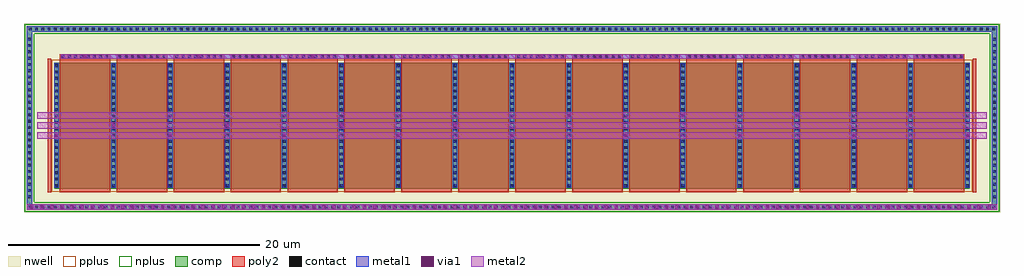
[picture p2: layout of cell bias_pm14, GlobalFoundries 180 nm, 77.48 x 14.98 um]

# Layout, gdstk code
import gdstk
lib = gdstk.Library(unit=1e-6, precision=1e-09)
def R(c, l, rs):  # rectangles x0, y0, x1, y1
    for r in rs: c.add(gdstk.rectangle(r[:2], r[2:], *l))
def A(c, l, x, y, w, h, nx, ny, dx, dy):  # array of equal rectangles
    R(c, l, [(x+i*dx, y+j*dy, x+i*dx+w, y+j*dy+h) for i in range(nx) for j in range(ny)])
nwell = (21, 0)
comp = (22, 0)
poly2 = (30, 0)
pplus = (31, 0)
nplus = (32, 0)
contact = (33, 0)
metal1 = (34, 0)
via1 = (35, 0)
metal2 = (36, 0)

bias_pm14 = lib.new_cell('bias_pm14')
R(bias_pm14, nwell, [(-0.22,-0.22,77.26,14.76)])
R(bias_pm14, comp, [(0,0,77.04,0.42), (0,0,0.42,14.54), (76.62,0,77.04,14.54), (2.17,1.67,74.87,11.67), (0,14.12,77.04,14.54)])
A(bias_pm14, poly2, 2.62, 1.37, 4, 10.96, 16, 1, 4.52, 0)
R(bias_pm14, poly2, [(1.65,1.37,1.93,11.97), (75.11,1.37,75.39,11.97)])
R(bias_pm14, pplus, [(1.99,1.43,75.05,11.91)])
R(bias_pm14, nplus, [(-0.16,-0.16,77.2,0.58), (-0.16,-0.16,0.58,14.7), (76.46,-0.16,77.2,14.7), (-0.16,13.96,77.2,14.7)])
A(bias_pm14, contact, 0.16, 0.1, 0.22, 0.22, 154, 2, 0.5, 14.12)
A(bias_pm14, contact, 0.1, 0.91, 0.22, 0.22, 1, 26, 0, 0.5)
A(bias_pm14, contact, 76.72, 0.91, 0.22, 0.22, 1, 26, 0, 0.5)
A(bias_pm14, contact, 2.25, 1.81, 0.22, 0.22, 17, 20, 4.52, 0.5)
A(bias_pm14, contact, 2.76, 12.04, 0.22, 0.22, 8, 1, 0.5, 0)
A(bias_pm14, contact, 7.28, 12.04, 0.22, 0.22, 8, 1, 0.5, 0)
A(bias_pm14, contact, 11.8, 12.04, 0.22, 0.22, 8, 1, 0.5, 0)
A(bias_pm14, contact, 16.32, 12.04, 0.22, 0.22, 8, 1, 0.5, 0)
A(bias_pm14, contact, 20.84, 12.04, 0.22, 0.22, 8, 1, 0.5, 0)
A(bias_pm14, contact, 25.36, 12.04, 0.22, 0.22, 8, 1, 0.5, 0)
A(bias_pm14, contact, 29.88, 12.04, 0.22, 0.22, 8, 1, 0.5, 0)
A(bias_pm14, contact, 34.4, 12.04, 0.22, 0.22, 8, 1, 0.5, 0)
A(bias_pm14, contact, 38.92, 12.04, 0.22, 0.22, 8, 1, 0.5, 0)
A(bias_pm14, contact, 43.44, 12.04, 0.22, 0.22, 8, 1, 0.5, 0)
A(bias_pm14, contact, 47.96, 12.04, 0.22, 0.22, 8, 1, 0.5, 0)
A(bias_pm14, contact, 52.48, 12.04, 0.22, 0.22, 8, 1, 0.5, 0)
A(bias_pm14, contact, 57, 12.04, 0.22, 0.22, 8, 1, 0.5, 0)
A(bias_pm14, contact, 61.52, 12.04, 0.22, 0.22, 8, 1, 0.5, 0)
A(bias_pm14, contact, 66.04, 12.04, 0.22, 0.22, 8, 1, 0.5, 0)
A(bias_pm14, contact, 70.56, 12.04, 0.22, 0.22, 8, 1, 0.5, 0)
A(bias_pm14, metal1, 2.17, 1.73, 0.38, 9.88, 17, 1, 4.52, 0)
R(bias_pm14, metal1, [(0,0,77.04,0.42), (0,0,0.42,14.54), (76.62,0,77.04,14.54), (2.68,11.96,74.36,12.34), (0,14.12,77.04,14.54)])
A(bias_pm14, via1, 0.27, 0.08, 0.26, 0.26, 96, 1, 0.8, 0)
A(bias_pm14, via1, 2.23, 5.74, 0.26, 0.26, 9, 1, 9.04, 0)
A(bias_pm14, via1, 6.75, 6.54, 0.26, 0.26, 4, 1, 9.04, 0)
A(bias_pm14, via1, 42.91, 7.34, 0.26, 0.26, 4, 1, 9.04, 0)
A(bias_pm14, via1, 4.49, 12.02, 0.26, 0.26, 16, 1, 4.52, 0)
A(bias_pm14, metal2, 0.82, 5.62, 75.4, 0.5, 1, 3, 0, 0.8)
R(bias_pm14, metal2, [(0,0,77.04,0.42), (2.68,11.96,74.36,12.34)])

lib.write_gds('bias_pm14.gds')
